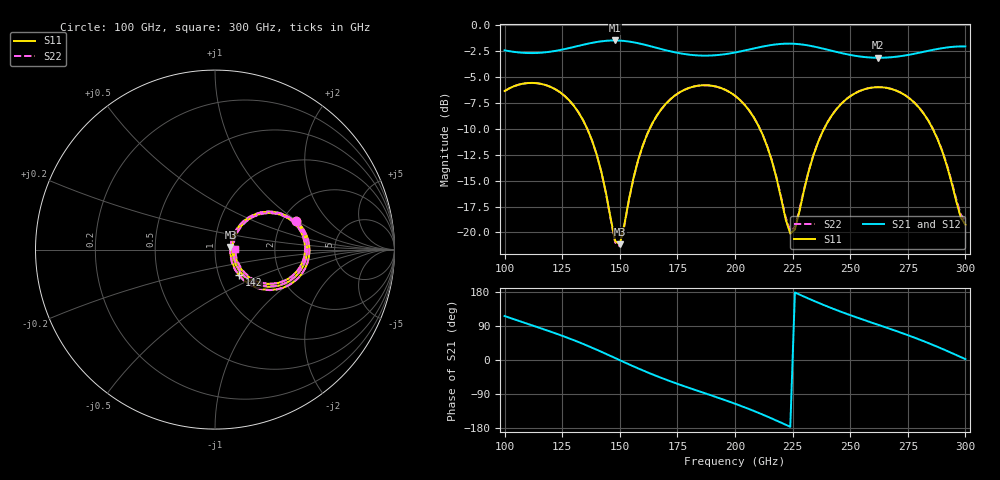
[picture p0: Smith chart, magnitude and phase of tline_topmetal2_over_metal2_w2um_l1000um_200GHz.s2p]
#  GHZ S DB R 50
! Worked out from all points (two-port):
!   101 points, 100 GHz to 300 GHz, reference 50 ohm
!   highest |S21| = -1.48 dB at 148 GHz (marker M1); lowest = -3.1 dB at 262 GHz (marker M2)
!   |S21| within 3 dB of the highest: start of sweep to end of sweep
!   lowest |S11| = -21.2 dB at 150 GHz (marker M3), VSWR 1.19, Z = 59.4 + j1.74 ohm
!   |S11| at or under -10 dB: 135.9 GHz to 163 GHz (27.11 GHz wide, 18.1 % of centre); 210.8 GHz to 238.7 GHz (27.92 GHz wide, 12.4 % of centre); 285.8 GHz to end of sweep
!   |S22| runs from -21.3 to -5.6 dB; largest |S21 - S12| = 9.1e-14
!   S11 on the Smith chart (normalised r, x): 100 GHz: 2.36, +0.99; 142 GHz: 1.25, -0.37; 300 GHz: 1.24, +0.01
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100  -6.36 19.7  -2.43 116.1  -2.43 116.1  -6.36 19.6
116  -5.68 -8.2  -2.66 83.1  -2.66 83.1  -5.68 -8.3
126  -6.82 -25.8  -2.31 61.6  -2.31 61.6  -6.82 -25.9
134  -9.14 -39.5  -1.90 42.6  -1.90 42.6  -9.15 -39.7
142  -14.16 -46.9  -1.56 21.6  -1.56 21.6  -14.19 -47.3
148  -20.83 -17.7  -1.48 5.1  -1.48 5.1  -20.98 -18.2
150  -21.15 9.6  -1.49 -0.5  -1.49 -0.5  -21.33 9.8
158  -12.98 44.8  -1.75 -22.3  -1.75 -22.3  -13.01 45.2
168  -8.12 32.2  -2.31 -47.1  -2.31 -47.1  -8.12 32.5
184  -5.84 5.1  -2.93 -81.7  -2.93 -81.7  -5.84 5.3
200  -6.81 -21.9  -2.64 -115.4  -2.64 -115.4  -6.81 -21.6
212  -10.58 -40.3  -2.07 -144.1  -2.07 -144.1  -10.56 -39.8
224  -20.12 -6.8  -1.79 -176.3  -1.79 -176.3  -19.86 -6.4
226  -19.71 15.6  -1.80 178.2  -1.80 178.2  -19.48 15.2
234  -12.58 42.5  -2.05 156.6  -2.05 156.6  -12.54 42.0
246  -7.62 27.7  -2.69 127.4  -2.69 127.4  -7.61 27.5
262  -5.98 1.5  -3.15 93.2  -3.15 93.2  -5.98 1.4
268  -6.17 -8.4  -3.09 80.7  -3.09 80.7  -6.16 -8.3
278  -7.51 -24.7  -2.75 58.8  -2.75 58.8  -7.50 -24.5
286  -10.07 -36.1  -2.38 39.5  -2.38 39.5  -10.04 -35.6
294  -15.19 -36.1  -2.10 18.6  -2.10 18.6  -15.06 -35.1
300  -19.25 1.4  -2.06 2.3  -2.06 2.3  -18.91 1.2
